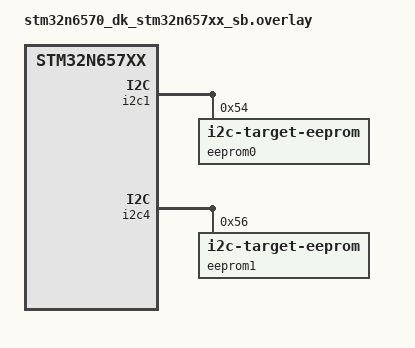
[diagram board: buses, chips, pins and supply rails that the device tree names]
/*
 * Copyright (c) 2025 STMicroelectronics
 * SPDX-License-Identifier: Apache-2.0
 */

/* I2C bus pins are exposed on the ST Arduino header.
 *
 *  Bus        SDA                    SCL
 *          Pin   Hdr              Pin   Hdr
 *  i2c1    PC1   CN12:10 (D15)    PH9   CN12:9 (D14)
 *  i2c4    PE14  CN12:2  (D9)     PE13  CN11:7 (D6)
 *
 * Short Pin PC1 to PE14, and PH9 to PE13, for the test to pass.
 */

#define IC2_TEST_0_DMA_TX <&gpdma1 0 96 STM32_DMA_PERIPH_TX>
#define IC2_TEST_0_DMA_RX <&gpdma1 1 95 STM32_DMA_PERIPH_RX>

i2c_test_0: &i2c1 {
	dmas = IC2_TEST_0_DMA_TX, IC2_TEST_0_DMA_RX;
	dma-names = "tx", "rx";

	eeprom0: eeprom@54 {
		compatible = "zephyr,i2c-target-eeprom";
		reg = <0x54>;
		size = <256>;
	};
};

#define IC2_TEST_1_DMA_TX <&gpdma1 2 102 STM32_DMA_PERIPH_TX>
#define IC2_TEST_1_DMA_RX <&gpdma1 3 101 STM32_DMA_PERIPH_RX>

i2c_test_1: &i2c4 {
	dmas = IC2_TEST_1_DMA_TX, IC2_TEST_1_DMA_RX;
	dma-names = "tx", "rx";

	eeprom1: eeprom@56 {
		compatible = "zephyr,i2c-target-eeprom";
		reg = <0x56>;
		size = <256>;
	};
};

&gpdma1 {
	status = "okay";
};
